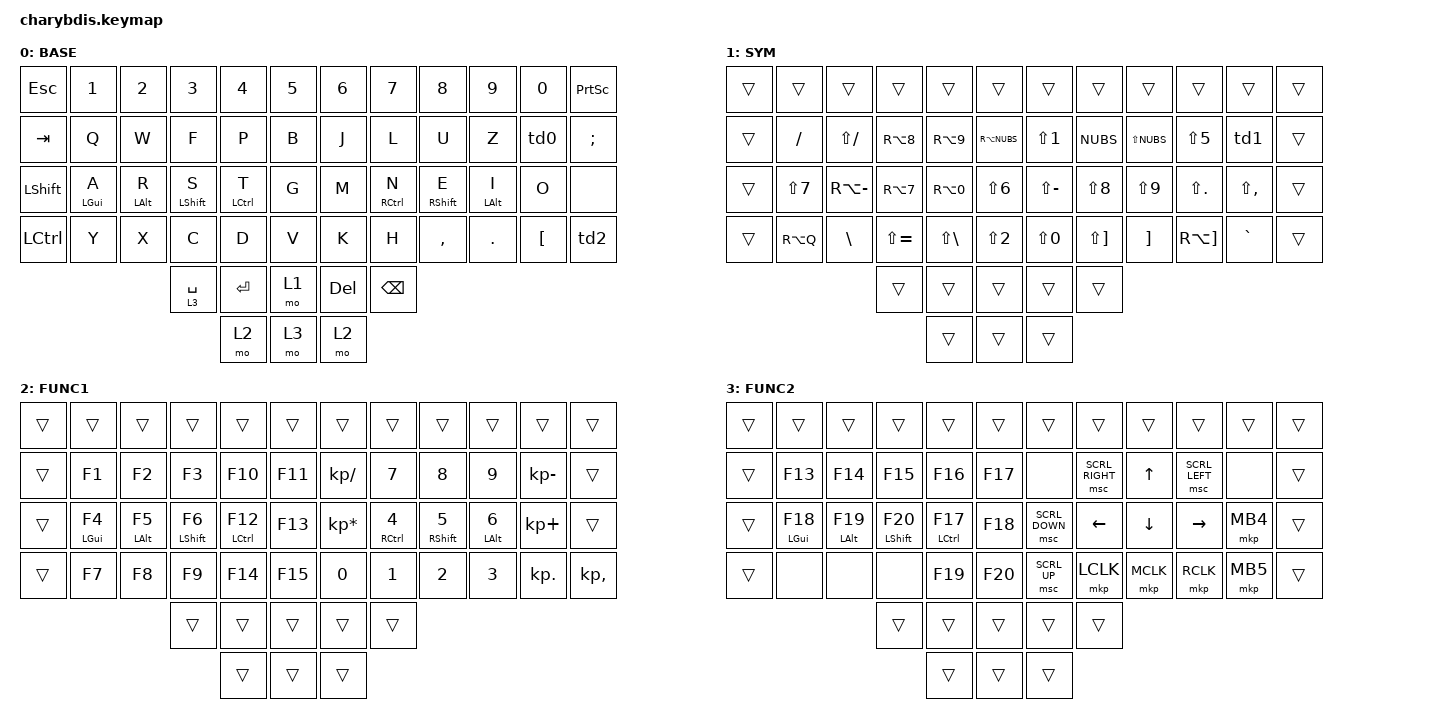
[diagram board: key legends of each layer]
#define ZMK_POINTING_DEFAULT_SCRL_VAL 50

#include "keys_de_swiss.h"
#include <dt-bindings/zmk/mouse.h>
#include <behaviors.dtsi>
#include <dt-bindings/zmk/bt.h>
#include <dt-bindings/zmk/ext_power.h>
#include <dt-bindings/zmk/keys.h>
#include <dt-bindings/zmk/pointing.h>

/ {
    /* input config for trackball - official ZMK uses different configuration */
    /* Layer-specific behavior and scaling must be handled differently in official ZMK */
    trackball_listener {
        compatible = "zmk,input-listener";
        device = <&trackball>;
    };

    /* Custom input behavior toggle layer - removed as it was from custom modules */
    /* Use standard ZMK layer behaviors instead */

    behaviors {
        // Home row mods - right hand
        hmr: hmr {
            compatible = "zmk,behavior-hold-tap";
            label = "HMR";
            bindings = <&kp>, <&kp>;
            #binding-cells = <2>;
            tapping-term-ms = <250>;
            quick-tap-ms = <175>;
            flavor = "balanced";
            hold-trigger-key-positions = <0 1 2 3 4 5 12 13 14 15 16 17 24 25 26 27 28 29 36 37 38 39 40 41 48 49 50 53 54 51 52 55>;
            hold-trigger-on-release;
        };

        // Home row mods - left hand
        hml: hml {
            compatible = "zmk,behavior-hold-tap";
            label = "HML";
            bindings = <&kp>, <&kp>;
            #binding-cells = <2>;
            tapping-term-ms = <250>;
            quick-tap-ms = <175>;
            flavor = "balanced";
            hold-trigger-key-positions = <48 49 50 53 54 51 52 55 6 7 8 9 10 11 18 19 20 21 22 23 30 31 32 33 34 35 42 43 44 45 46 47 51 52>;
            hold-trigger-on-release;
        };

        // Tap Dance 0: ' (single) / - (double)
        td0: tap_dance_0 {
            compatible = "zmk,behavior-tap-dance";
            label = "TAP_DANCE_0";
            #binding-cells = <0>;
            tapping-term-ms = <200>;
            bindings = <&kp SQT>, <&kp MINUS>;
        };

        // Tap Dance 1: $ (single) / € (double)
        td1: tap_dance_1 {
            compatible = "zmk,behavior-tap-dance";
            label = "TAP_DANCE_1";
            #binding-cells = <0>;
            tapping-term-ms = <200>;
            bindings = <&kp LS(N4)>, <&kp RA(E)>;
        };

        // Tap Dance 2: HOME (single) / END (double)
        td2: tap_dance_2 {
            compatible = "zmk,behavior-tap-dance";
            label = "TAP_DANCE_2";
            #binding-cells = <0>;
            tapping-term-ms = <200>;
            bindings = <&kp HOME>, <&kp END>;
        };

        // Tap Dance 3: HOME (single) / END (double)
        td3: tap_dance_3 {
            compatible = "zmk,behavior-tap-dance";
            label = "TAP_DANCE_3";
            #binding-cells = <0>;
            tapping-term-ms = <200>;
            bindings = <&kp HOME>, <&kp END>;
        };
    };

    keymap {
        compatible = "zmk,keymap";

        // LAYER_BASE = 0
        default_layer {
            label = "BASE";
            bindings = <
&kp ESC     &kp N1           &kp N2           &kp N3             &kp N4              &kp N5          &kp N6   &kp N7              &kp N8            &kp N9           &kp N0      &kp PSCRN
&kp TAB     &kp Q            &kp W            &kp F              &kp P               &kp B           &kp J    &kp L               &kp U             &kp Z            &td0        &kp SEMI
&kp LSHFT   &hml LGUI A      &hml LALT R      &hml LSHFT S       &hml LCTRL T        &kp G           &kp M    &hmr RCTRL N        &hmr RSHFT E      &hmr LALT I      &kp O       &none
&kp LCTRL   &kp Y            &kp X            &kp C              &kp D               &kp V           &kp K    &kp H               &kp COMMA         &kp DOT          &kp LBKT    &td2
                                              &lt 3 SPACE        &kp ENTER           &mo 1           &kp DEL  &kp BSPC
                                                                 &mo 2               &mo 3           &mo 2
            >;
        };

        // LAYER_SYM = 1
        symbol_layer {
            label = "SYM";
            bindings = <
        &trans      &trans           &trans                   &trans                          &trans                          &trans          &trans             &trans                   &trans                    &trans                     &trans               &trans
        &trans      &kp SLASH        &kp LS(SLASH)            &kp RA(N8)                      &kp RA(N9)                      &kp RA(NUBS)    &kp LS(N1)         &kp NUBS                 &kp LS(NUBS)              &kp LS(N5)                 &td1                 &trans
        &trans      &kp LS(N7)       &kp RA(MINUS)            &kp RA(N7)                      &kp RA(N0)                      &kp LS(N6)      &kp LS(MINUS)      &kp LS(N8)               &kp LS(N9)                &kp LS(DOT)                &kp LS(COMMA)        &trans
        &trans      &kp RA(Q)        &kp BSLH                 &kp LS(EQUAL)                   &kp LS(BSLH)                    &kp LS(N2)      &kp LS(N0)         &kp LS(RBKT)             &kp RBKT                  &kp RA(RBKT)               &kp GRAVE            &trans
                                                      &trans                          &trans                          &trans          &trans             &trans
                                                                                      &trans                          &trans          &trans
            >;
        };

        // LAYER_FUNC1 = 2
        function1_layer {
            label = "FUNC1";
            bindings = <
&trans      &trans           &trans           &trans             &trans              &trans          &trans             &trans              &trans            &trans           &trans               &trans
&trans      &kp F1           &kp F2           &kp F3             &kp F10             &kp F11         &kp KP_SLASH       &kp N7              &kp N8            &kp N9           &kp KP_MINUS         &trans
&trans      &hml LGUI F4     &hml LALT F5     &hml LSHFT F6      &hml LCTRL F12      &kp F13         &kp KP_MULTIPLY    &hmr RCTRL N4       &hmr RSHFT N5     &hmr LALT N6     &kp KP_PLUS          &trans
&trans      &kp F7           &kp F8           &kp F9             &kp F14             &kp F15         &kp N0             &kp N1              &kp N2            &kp N3           &kp KP_DOT           &kp KP_COMMA
                                              &trans             &trans              &trans          &trans             &trans
                                                                 &trans              &trans          &trans
            >;
        };

        // LAYER_FUNC2 = 3
        function2_layer {
            label = "FUNC2";
            bindings = <
&trans      &trans           &trans           &trans             &trans              &trans          &trans             &trans              &trans            &trans           &trans               &trans
&trans      &kp F13          &kp F14          &kp F15            &kp F16             &kp F17         &none              &msc SCRL_RIGHT     &kp UP            &msc SCRL_LEFT   &none                &trans
&trans      &hml LGUI F18    &hml LALT F19    &hml LSHFT F20     &hml LCTRL F17      &kp F18         &msc SCRL_DOWN     &kp LEFT            &kp DOWN          &kp RIGHT        &mkp MB4             &trans
&trans      &none            &none            &none              &kp F19             &kp F20         &msc SCRL_UP       &mkp LCLK           &mkp MCLK         &mkp RCLK        &mkp MB5             &trans
                                              &trans             &trans              &trans          &trans             &trans
                                                                 &trans              &trans          &trans
            >;
        };
    };
};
